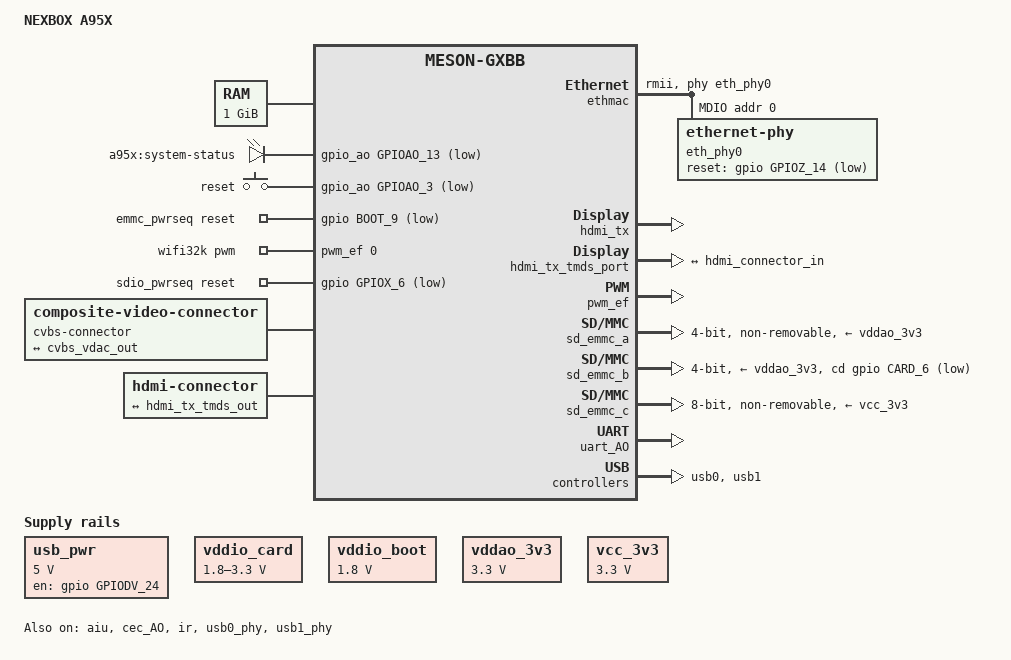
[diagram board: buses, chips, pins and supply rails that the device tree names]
// SPDX-License-Identifier: (GPL-2.0+ OR MIT)
/*
 * Copyright (c) 2016 Andreas Färber
 * Copyright (c) 2016 BayLibre, Inc.
 * Author: Neil Armstrong <narmstrong@kernel.org>
 */

/dts-v1/;

#include "meson-gxbb.dtsi"
#include <dt-bindings/gpio/gpio.h>
#include <dt-bindings/input/input.h>
#include <dt-bindings/sound/meson-aiu.h>

/ {
	compatible = "nexbox,a95x", "amlogic,meson-gxbb";
	model = "NEXBOX A95X";

	aliases {
		serial0 = &uart_AO;
		ethernet0 = &ethmac;
	};

	chosen {
		stdout-path = "serial0:115200n8";
	};

	memory@0 {
		device_type = "memory";
		reg = <0x0 0x0 0x0 0x40000000>;
	};

	leds {
		compatible = "gpio-leds";
		led-blue {
			label = "a95x:system-status";
			gpios = <&gpio_ao GPIOAO_13 GPIO_ACTIVE_LOW>;
			linux,default-trigger = "heartbeat";
			default-state = "off";
		};
	};

	gpio-keys-polled {
		compatible = "gpio-keys-polled";
		poll-interval = <100>;

		button {
			label = "reset";
			linux,code = <KEY_RESTART>;
			gpios = <&gpio_ao GPIOAO_3 GPIO_ACTIVE_LOW>;
		};
	};

	usb_pwr: regulator-usb-pwrs {
		compatible = "regulator-fixed";

		regulator-name = "USB_PWR";

		regulator-min-microvolt = <5000000>;
		regulator-max-microvolt = <5000000>;

		gpio = <&gpio GPIODV_24 GPIO_ACTIVE_HIGH>;
		enable-active-high;
	};

	vddio_card: gpio-regulator {
		compatible = "regulator-gpio";

		regulator-name = "VDDIO_CARD";
		regulator-min-microvolt = <1800000>;
		regulator-max-microvolt = <3300000>;

		gpios = <&gpio_ao GPIOAO_5 GPIO_ACTIVE_HIGH>;
		gpios-states = <1>;

		/* Based on P200 schematics, signal CARD_1.8V/3.3V_CTR */
		states = <1800000 0>,
			 <3300000 1>;
	};

	vddio_boot: regulator-vddio-boot {
		compatible = "regulator-fixed";
		regulator-name = "VDDIO_BOOT";
		regulator-min-microvolt = <1800000>;
		regulator-max-microvolt = <1800000>;
	};

	vddao_3v3: regulator-vddao-3v3 {
		compatible = "regulator-fixed";
		regulator-name = "VDDAO_3V3";
		regulator-min-microvolt = <3300000>;
		regulator-max-microvolt = <3300000>;
	};

	vcc_3v3: regulator-vcc-3v3 {
		compatible = "regulator-fixed";
		regulator-name = "VCC_3V3";
		regulator-min-microvolt = <3300000>;
		regulator-max-microvolt = <3300000>;
	};

	emmc_pwrseq: emmc-pwrseq {
		compatible = "mmc-pwrseq-emmc";
		reset-gpios = <&gpio BOOT_9 GPIO_ACTIVE_LOW>;
	};

	wifi32k: wifi32k {
		compatible = "pwm-clock";
		#clock-cells = <0>;
		clock-frequency = <32768>;
		pwms = <&pwm_ef 0 30518 0>; /* PWM_E at 32.768KHz */
	};

	sdio_pwrseq: sdio-pwrseq {
		compatible = "mmc-pwrseq-simple";
		reset-gpios = <&gpio GPIOX_6 GPIO_ACTIVE_LOW>;
		clocks = <&wifi32k>;
		clock-names = "ext_clock";
	};

	cvbs-connector {
		compatible = "composite-video-connector";

		port {
			cvbs_connector_in: endpoint {
				remote-endpoint = <&cvbs_vdac_out>;
			};
		};
	};

	hdmi-connector {
		compatible = "hdmi-connector";
		type = "a";

		port {
			hdmi_connector_in: endpoint {
				remote-endpoint = <&hdmi_tx_tmds_out>;
			};
		};
	};

	sound {
		compatible = "amlogic,gx-sound-card";
		model = "NEXBOX-A95X";
		clocks = <&clkc CLKID_MPLL0>,
			 <&clkc CLKID_MPLL1>,
			 <&clkc CLKID_MPLL2>;

		assigned-clocks = <&clkc CLKID_MPLL0>,
				  <&clkc CLKID_MPLL1>,
				  <&clkc CLKID_MPLL2>;
		assigned-clock-parents = <0>, <0>, <0>;
		assigned-clock-rates = <294912000>,
				       <270950400>,
				       <393216000>;

		dai-link-0 {
			sound-dai = <&aiu AIU_CPU CPU_I2S_FIFO>;
		};

		dai-link-1 {
			sound-dai = <&aiu AIU_CPU CPU_I2S_ENCODER>;
			dai-format = "i2s";
			mclk-fs = <256>;

			codec-0 {
				sound-dai = <&aiu AIU_HDMI CTRL_I2S>;
			};
		};

		dai-link-2 {
			sound-dai = <&aiu AIU_HDMI CTRL_OUT>;

			codec-0 {
				sound-dai = <&hdmi_tx>;
			};
		};
	};
};

&aiu {
	status = "okay";
};

&cvbs_vdac_port {
	cvbs_vdac_out: endpoint {
		remote-endpoint = <&cvbs_connector_in>;
	};
};

&cec_AO {
	status = "okay";
	pinctrl-0 = <&ao_cec_pins>;
	pinctrl-names = "default";
	hdmi-phandle = <&hdmi_tx>;
};

&ethmac {
	status = "okay";
	pinctrl-0 = <&eth_rmii_pins>;
	pinctrl-names = "default";

	phy-handle = <&eth_phy0>;
	phy-mode = "rmii";

	mdio {
		compatible = "snps,dwmac-mdio";
		#address-cells = <1>;
		#size-cells = <0>;

		eth_phy0: ethernet-phy@0 {
			/* IC Plus IP101GR (0x02430c54) */
			reg = <0>;

			reset-assert-us = <10000>;
			reset-deassert-us = <10000>;
			reset-gpios = <&gpio GPIOZ_14 GPIO_ACTIVE_LOW>;
		};
	};
};

&hdmi_tx {
	status = "okay";
	pinctrl-0 = <&hdmi_hpd_pins>, <&hdmi_i2c_pins>;
	pinctrl-names = "default";
};

&hdmi_tx_tmds_port {
	hdmi_tx_tmds_out: endpoint {
		remote-endpoint = <&hdmi_connector_in>;
	};
};

&ir {
	status = "okay";
	pinctrl-0 = <&remote_input_ao_pins>;
	pinctrl-names = "default";
};

&pwm_ef {
	status = "okay";
	pinctrl-0 = <&pwm_e_pins>;
	pinctrl-names = "default";
	clocks = <&clkc CLKID_FCLK_DIV4>;
	clock-names = "clkin0";
};

/* Wireless SDIO Module */
&sd_emmc_a {
	status = "okay";
	pinctrl-0 = <&sdio_pins>;
	pinctrl-1 = <&sdio_clk_gate_pins>;
	pinctrl-names = "default", "clk-gate";
	#address-cells = <1>;
	#size-cells = <0>;

	bus-width = <4>;
	cap-sd-highspeed;
	max-frequency = <100000000>;

	non-removable;
	disable-wp;

	/* WiFi firmware requires power to be kept while in suspend */
	keep-power-in-suspend;

	mmc-pwrseq = <&sdio_pwrseq>;

	vmmc-supply = <&vddao_3v3>;
	vqmmc-supply = <&vddio_boot>;
};

/* SD card */
&sd_emmc_b {
	status = "okay";
	pinctrl-0 = <&sdcard_pins>;
	pinctrl-1 = <&sdcard_clk_gate_pins>;
	pinctrl-names = "default", "clk-gate";

	bus-width = <4>;
	cap-sd-highspeed;
	max-frequency = <50000000>;
	disable-wp;

	cd-gpios = <&gpio CARD_6 GPIO_ACTIVE_LOW>;

	vmmc-supply = <&vddao_3v3>;
	vqmmc-supply = <&vddio_card>;
};

/* eMMC */
&sd_emmc_c {
	status = "okay";
	pinctrl-0 = <&emmc_pins>, <&emmc_ds_pins>;
	pinctrl-1 = <&emmc_clk_gate_pins>;
	pinctrl-names = "default", "clk-gate";

	bus-width = <8>;
	cap-mmc-highspeed;
	max-frequency = <200000000>;
	non-removable;
	disable-wp;
	mmc-ddr-1_8v;
	mmc-hs200-1_8v;

	mmc-pwrseq = <&emmc_pwrseq>;
	vmmc-supply = <&vcc_3v3>;
	vqmmc-supply = <&vddio_boot>;
};

&uart_AO {
	status = "okay";
	pinctrl-0 = <&uart_ao_a_pins>;
	pinctrl-names = "default";
};

&usb0_phy {
	status = "okay";
	phy-supply = <&usb_pwr>;
};

&usb1_phy {
	status = "okay";
};

&usb0 {
	status = "okay";
};

&usb1 {
	status = "okay";
};
